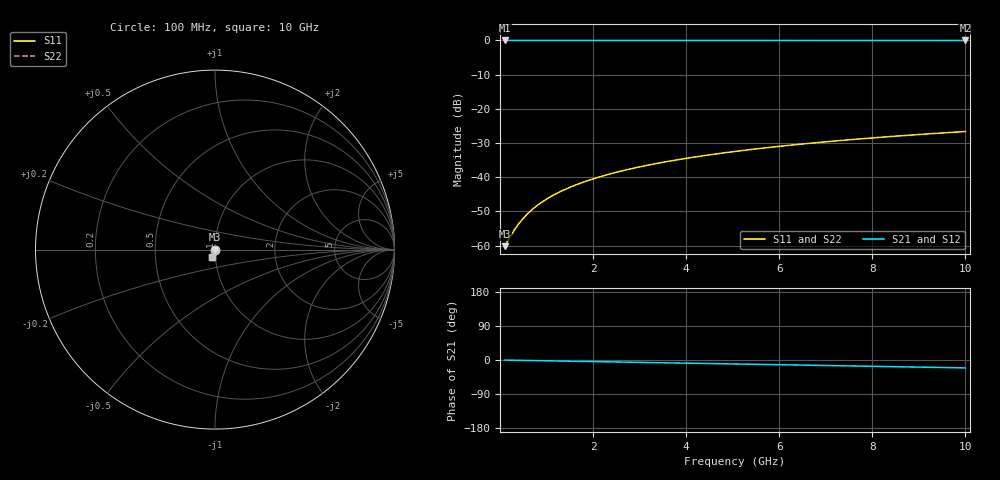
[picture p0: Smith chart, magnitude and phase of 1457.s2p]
# Hz S RI R 50.00
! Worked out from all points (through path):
!   100 points, 100 MHz to 10 GHz, reference 50 ohm
!   highest |S21| = -0.01 dB at 100 MHz (marker M1); lowest = 0.0 dB at 10 GHz (marker M2)
!   group delay of S21, straight-line fit = 5.79 ps
!   lowest |S11| = -60.2 dB at 100 MHz (marker M3), VSWR 1.00, Z = 50.1 - j0.0474 ohm
!   |S11| at or under -10 dB: start of sweep to end of sweep
!   |S22| runs from -60.2 to -26.6 dB; largest |S21 - S12| = 0
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1e8  0.00086 -0.000473  0.9991 -0.00361  0.9991 -0.00361  0.00086 -0.000473
3e8  0.000853 -0.00142  0.9991 -0.0108  0.9991 -0.0108  0.000853 -0.00142
4e8  0.000842 -0.00189  0.999 -0.0144  0.999 -0.0144  0.000842 -0.00189
5e8  0.000828 -0.00236  0.9989 -0.018  0.9989 -0.018  0.000828 -0.00236
6e8  0.00081 -0.00284  0.9989 -0.0216  0.9989 -0.0216  0.00081 -0.00284
7e8  0.000789 -0.00331  0.9988 -0.0253  0.9988 -0.0253  0.000789 -0.00331
8e8  0.000763 -0.00378  0.9987 -0.0289  0.9987 -0.0289  0.000763 -0.00378
9e8  0.000734 -0.00426  0.9986 -0.0325  0.9986 -0.0325  0.000734 -0.00426
1e9  0.000702 -0.00473  0.9984 -0.0361  0.9984 -0.0361  0.000702 -0.00473
1.2e9  0.000627 -0.00568  0.9981 -0.0433  0.9981 -0.0433  0.000627 -0.00568
1.5e9  0.000488 -0.00709  0.9976 -0.0541  0.9976 -0.0541  0.000488 -0.00709
1.8e9  0.000317 -0.00851  0.9969 -0.0649  0.9969 -0.0649  0.000317 -0.00851
2.1e9  0.000116 -0.00992  0.9961 -0.0757  0.9961 -0.0757  0.000116 -0.00992
2.5e9  -0.000201 -0.0118  0.9949 -0.0901  0.9949 -0.0901  -0.000201 -0.0118
2.9e9  -0.000572 -0.0137  0.9934 -0.1045  0.9934 -0.1045  -0.000572 -0.0137
3.4e9  -0.00111 -0.016  0.9913 -0.1225  0.9913 -0.1225  -0.00111 -0.016
4.2e9  -0.00216 -0.0197  0.9873 -0.1512  0.9873 -0.1512  -0.00216 -0.0197
5.1e9  -0.00359 -0.0238  0.9817 -0.1834  0.9817 -0.1834  -0.00359 -0.0238
5.9e9  -0.00508 -0.0273  0.9758 -0.2119  0.9758 -0.2119  -0.00508 -0.0273
6.7e9  -0.00678 -0.0308  0.9691 -0.2403  0.9691 -0.2403  -0.00678 -0.0308
8.4e9  -0.0111 -0.0378  0.9519 -0.3  0.9519 -0.3  -0.0111 -0.0378
1e10  -0.0158 -0.0438  0.9323 -0.3552  0.9323 -0.3552  -0.0158 -0.0438
